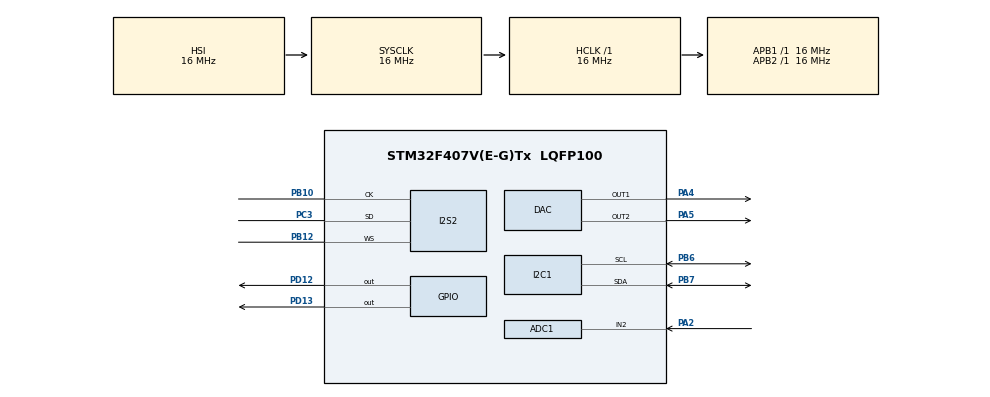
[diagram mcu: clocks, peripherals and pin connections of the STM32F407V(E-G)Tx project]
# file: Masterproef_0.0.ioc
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ADC1.Channel-0\#ChannelRegularConversion=ADC_CHANNEL_2
ADC1.ExternalTrigConv=ADC_EXTERNALTRIGCONV_T3_TRGO
ADC1.NbrOfConversionFlag=1
ADC1.Rank-0\#ChannelRegularConversion=1
ADC1.Resolution=ADC_RESOLUTION_8B
ADC1.SamplingTime-0\#ChannelRegularConversion=ADC_SAMPLETIME_28CYCLES
ADC1.master=1
I2S2.ErrorAudioFreq=0.0 %
I2S2.FullDuplexMode=I2S_FULLDUPLEXMODE_DISABLE
I2S2.Instance=SPI$Index
I2S2.RealAudioFreq=8.0 KHz
I2S2.VirtualMode=I2S_MODE_MASTER
Mcu.Family=STM32F4
Mcu.Name=STM32F407V(E-G)Tx
Mcu.Package=LQFP100
NVIC.ADC_IRQn=true\:0\:0\:false\:false\:true\:true\:true
NVIC.PriorityGroup=NVIC_PRIORITYGROUP_4
NVIC.TIM2_IRQn=true\:0\:0\:false\:false\:true\:true\:true
PA2.Signal=ADCx_IN2
PA4.Signal=COMP_DAC1_group
PA5.Signal=COMP_DAC2_group
PB10.Mode=Half_Duplex_Master
PB10.Signal=I2S2_CK
PB12.Mode=Half_Duplex_Master
PB12.Signal=I2S2_WS
PB6.Mode=I2C
PB6.Signal=I2C1_SCL
PB7.Mode=I2C
PB7.Signal=I2C1_SDA
PC3.Mode=Half_Duplex_Master
PC3.Signal=I2S2_SD
PD12.Signal=GPIO_Output
PD13.Signal=GPIO_Output
PH0-OSC_IN.Mode=HSE-External-Oscillator
PH0-OSC_IN.Signal=RCC_OSC_IN
PH1-OSC_OUT.Mode=HSE-External-Oscillator
PH1-OSC_OUT.Signal=RCC_OSC_OUT
ProjectManager.HeapSize=0x200
ProjectManager.StackSize=0x400
ProjectManager.TargetToolchain=STM32CubeIDE
RCC.48MHZClocksFreq_Value=96000000
RCC.AHBFreq_Value=16000000
RCC.APB1Freq_Value=16000000
RCC.APB1TimFreq_Value=16000000
RCC.APB2Freq_Value=16000000
RCC.APB2TimFreq_Value=16000000
RCC.CortexFreq_Value=16000000
RCC.HCLKFreq_Value=16000000
RCC.HSE_VALUE=8000000
RCC.HSI_VALUE=16000000
RCC.LSE_VALUE=32768
RCC.PLLI2SN=96
RCC.PLLM=8
RCC.SYSCLKFreq_VALUE=16000000
RCC.VCOOutputFreq_Value=384000000
SH.ADCx_IN2.0=ADC1_IN2,IN2
SH.COMP_DAC1_group.0=DAC_OUT1,DAC_OUT1
SH.COMP_DAC2_group.0=DAC_OUT2,DAC_OUT2
TIM2.Period=1000
TIM2.Prescaler=16000
TIM2.TIM_MasterOutputTrigger=TIM_TRGO_UPDATE
TIM3.Period=2
TIM3.Prescaler=1000
TIM3.TIM_MasterOutputTrigger=TIM_TRGO_UPDATE
VP_TIM2_VS_ClockSourceINT.Mode=Internal
VP_TIM3_VS_ClockSourceINT.Mode=Internal
board=custom

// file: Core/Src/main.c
/* USER CODE BEGIN Header */
/**
  ******************************************************************************
  * @file           : main.c
  * @brief          : Main program body
  ******************************************************************************
  * @attention
  *
  * <h2><center>&copy; Copyright (c) 2019 STMicroelectronics.
  * All rights reserved.</center></h2>
  *
  * This software component is licensed by ST under BSD 3-Clause license,
  * the "License"; You may not use this file except in compliance with the
  * License. You may obtain a copy of the License at:
  *                        opensource.org/licenses/BSD-3-Clause
  *
  ******************************************************************************
  */
/* USER CODE END Header */

#include "main.h"

/* USER CODE BEGIN Includes */
#include "ssd1306.h"
#include "fonts.h"
#include "test.h"
/* USER CODE END Includes */

ADC_HandleTypeDef hadc1;

DAC_HandleTypeDef hdac;

I2C_HandleTypeDef hi2c1;

I2S_HandleTypeDef hi2s2;

TIM_HandleTypeDef htim2;
TIM_HandleTypeDef htim3;

void SystemClock_Config(void);
static void MX_GPIO_Init(void);
static void MX_I2C1_Init(void);
static void MX_I2S2_Init(void);
static void MX_ADC1_Init(void);
static void MX_TIM2_Init(void);
static void MX_TIM3_Init(void);
static void MX_DAC_Init(void);

/* USER CODE BEGIN 0 */
uint8_t adcVal;

uint8_t samplingRate = 8;
/* USER CODE END 0 */

int main(void)
{
  /* USER CODE BEGIN 1 */
  uint16_t dacVal12;
  uint8_t dacVal8;
  /* USER CODE END 1 */

  /* MCU Configuration--------------------------------------------------------*/

  /* Reset of all peripherals, Initializes the Flash interface and the Systick. */
  HAL_Init();

  /* Configure the system clock */
  SystemClock_Config();

  /* Initialize all configured peripherals */
  MX_GPIO_Init();
  MX_I2C1_Init();
  MX_I2S2_Init();
  MX_ADC1_Init();
  MX_TIM2_Init();
  MX_TIM3_Init();
  MX_DAC_Init();
  /* USER CODE BEGIN 2 */
  SSD1306_Init();
  SSD1306_DrawCircle(0, 0, 10, SSD1306_COLOR_WHITE);
  SSD1306_GotoXY(5,50);
  SSD1306_Puts("test DAC 8 bit", &Font_7x10, SSD1306_COLOR_WHITE);
  SSD1306_UpdateScreen();

  HAL_TIM_Base_Start_IT(&htim2);

  HAL_TIM_Base_Start(&htim3);
  HAL_ADC_Start_IT(&hadc1);

  dacVal12= 0;
  dacVal8 = 128;
  HAL_DAC_Start(&hdac, DAC_CHANNEL_1);
  HAL_DAC_SetValue(&hdac, DAC_CHANNEL_1, DAC_ALIGN_8B_R, dacVal8);
  HAL_DAC_Start(&hdac, DAC_CHANNEL_2);
  HAL_DAC_SetValue(&hdac, DAC_CHANNEL_2, DAC_ALIGN_12B_R, dacVal12);
  /* USER CODE END 2 */

  /* Infinite loop */
  while (1)
  {

  }
}

void SystemClock_Config(void)
{
  RCC_OscInitTypeDef RCC_OscInitStruct = {0};
  RCC_ClkInitTypeDef RCC_ClkInitStruct = {0};
  RCC_PeriphCLKInitTypeDef PeriphClkInitStruct = {0};

  /** Macro to configure the PLL multiplication factor
  */
  __HAL_RCC_PLL_PLLM_CONFIG(8);
  /** Macro to configure the PLL clock source
  */
  __HAL_RCC_PLL_PLLSOURCE_CONFIG(RCC_PLLSOURCE_HSI);
  /** Configure the main internal regulator output voltage
  */
  __HAL_RCC_PWR_CLK_ENABLE();
  __HAL_PWR_VOLTAGESCALING_CONFIG(PWR_REGULATOR_VOLTAGE_SCALE1);
  /** Initializes the CPU, AHB and APB busses clocks
  */
  RCC_OscInitStruct.OscillatorType = RCC_OSCILLATORTYPE_HSI;
  RCC_OscInitStruct.HSIState = RCC_HSI_ON;
  RCC_OscInitStruct.HSICalibrationValue = RCC_HSICALIBRATION_DEFAULT;
  RCC_OscInitStruct.PLL.PLLState = RCC_PLL_NONE;
  RCC_OscInitStruct.PLL.PLLSource = RCC_PLLSOURCE_HSI;
  if (HAL_RCC_OscConfig(&RCC_OscInitStruct) != HAL_OK)
  {
    Error_Handler();
  }
  /** Initializes the CPU, AHB and APB busses clocks
  */
  RCC_ClkInitStruct.ClockType = RCC_CLOCKTYPE_HCLK|RCC_CLOCKTYPE_SYSCLK
                              |RCC_CLOCKTYPE_PCLK1|RCC_CLOCKTYPE_PCLK2;
  RCC_ClkInitStruct.SYSCLKSource = RCC_SYSCLKSOURCE_HSI;
  RCC_ClkInitStruct.AHBCLKDivider = RCC_SYSCLK_DIV1;
  RCC_ClkInitStruct.APB1CLKDivider = RCC_HCLK_DIV1;
  RCC_ClkInitStruct.APB2CLKDivider = RCC_HCLK_DIV1;

  if (HAL_RCC_ClockConfig(&RCC_ClkInitStruct, FLASH_LATENCY_0) != HAL_OK)
  {
    Error_Handler();
  }
  PeriphClkInitStruct.PeriphClockSelection = RCC_PERIPHCLK_I2S;
  PeriphClkInitStruct.PLLI2S.PLLI2SN = 96;
  PeriphClkInitStruct.PLLI2S.PLLI2SR = 2;
  if (HAL_RCCEx_PeriphCLKConfig(&PeriphClkInitStruct) != HAL_OK)
  {
    Error_Handler();
  }
}

static void MX_ADC1_Init(void)
{

  ADC_ChannelConfTypeDef sConfig = {0};

  /** Configure the global features of the ADC (Clock, Resolution, Data Alignment and number of conversion)
  */
  hadc1.Instance = ADC1;
  hadc1.Init.ClockPrescaler = ADC_CLOCK_SYNC_PCLK_DIV2;
  hadc1.Init.Resolution = ADC_RESOLUTION_8B;
  hadc1.Init.ScanConvMode = DISABLE;
  hadc1.Init.ContinuousConvMode = DISABLE;
  hadc1.Init.DiscontinuousConvMode = DISABLE;
  hadc1.Init.ExternalTrigConvEdge = ADC_EXTERNALTRIGCONVEDGE_RISING;
  hadc1.Init.ExternalTrigConv = ADC_EXTERNALTRIGCONV_T3_TRGO;
  hadc1.Init.DataAlign = ADC_DATAALIGN_RIGHT;
  hadc1.Init.NbrOfConversion = 1;
  hadc1.Init.DMAContinuousRequests = DISABLE;
  hadc1.Init.EOCSelection = ADC_EOC_SINGLE_CONV;
  if (HAL_ADC_Init(&hadc1) != HAL_OK)
  {
    Error_Handler();
  }
  /** Configure for the selected ADC regular channel its corresponding rank in the sequencer and its sample time.
  */
  sConfig.Channel = ADC_CHANNEL_2;
  sConfig.Rank = 1;
  sConfig.SamplingTime = ADC_SAMPLETIME_28CYCLES;
  if (HAL_ADC_ConfigChannel(&hadc1, &sConfig) != HAL_OK)
  {
    Error_Handler();
  }

}

static void MX_DAC_Init(void)
{

  DAC_ChannelConfTypeDef sConfig = {0};

  /** DAC Initialization
  */
  hdac.Instance = DAC;
  if (HAL_DAC_Init(&hdac) != HAL_OK)
  {
    Error_Handler();
  }
  /** DAC channel OUT1 config
  */
  sConfig.DAC_Trigger = DAC_TRIGGER_NONE;
  sConfig.DAC_OutputBuffer = DAC_OUTPUTBUFFER_ENABLE;
  if (HAL_DAC_ConfigChannel(&hdac, &sConfig, DAC_CHANNEL_1) != HAL_OK)
  {
    Error_Handler();
  }
  /** DAC channel OUT2 config
  */
  if (HAL_DAC_ConfigChannel(&hdac, &sConfig, DAC_CHANNEL_2) != HAL_OK)
  {
    Error_Handler();
  }

}

static void MX_I2C1_Init(void)
{

  hi2c1.Instance = I2C1;
  hi2c1.Init.ClockSpeed = 100000;
  hi2c1.Init.DutyCycle = I2C_DUTYCYCLE_2;
  hi2c1.Init.OwnAddress1 = 0;
  hi2c1.Init.AddressingMode = I2C_ADDRESSINGMODE_7BIT;
  hi2c1.Init.DualAddressMode = I2C_DUALADDRESS_DISABLE;
  hi2c1.Init.OwnAddress2 = 0;
  hi2c1.Init.GeneralCallMode = I2C_GENERALCALL_DISABLE;
  hi2c1.Init.NoStretchMode = I2C_NOSTRETCH_DISABLE;
  if (HAL_I2C_Init(&hi2c1) != HAL_OK)
  {
    Error_Handler();
  }

}

static void MX_I2S2_Init(void)
{

  hi2s2.Instance = SPI2;
  hi2s2.Init.Mode = I2S_MODE_MASTER_TX;
  hi2s2.Init.Standard = I2S_STANDARD_PHILIPS;
  hi2s2.Init.DataFormat = I2S_DATAFORMAT_16B;
  hi2s2.Init.MCLKOutput = I2S_MCLKOUTPUT_DISABLE;
  hi2s2.Init.AudioFreq = I2S_AUDIOFREQ_8K;
  hi2s2.Init.CPOL = I2S_CPOL_LOW;
  hi2s2.Init.ClockSource = I2S_CLOCK_PLL;
  hi2s2.Init.FullDuplexMode = I2S_FULLDUPLEXMODE_DISABLE;
  if (HAL_I2S_Init(&hi2s2) != HAL_OK)
  {
    Error_Handler();
  }

}

static void MX_TIM2_Init(void)
{

  TIM_ClockConfigTypeDef sClockSourceConfig = {0};
  TIM_MasterConfigTypeDef sMasterConfig = {0};

  htim2.Instance = TIM2;
  htim2.Init.Prescaler = 16000;
  htim2.Init.CounterMode = TIM_COUNTERMODE_UP;
  htim2.Init.Period = 1000;
  htim2.Init.ClockDivision = TIM_CLOCKDIVISION_DIV1;
  htim2.Init.AutoReloadPreload = TIM_AUTORELOAD_PRELOAD_DISABLE;
  if (HAL_TIM_Base_Init(&htim2) != HAL_OK)
  {
    Error_Handler();
  }
  sClockSourceConfig.ClockSource = TIM_CLOCKSOURCE_INTERNAL;
  if (HAL_TIM_ConfigClockSource(&htim2, &sClockSourceConfig) != HAL_OK)
  {
    Error_Handler();
  }
  sMasterConfig.MasterOutputTrigger = TIM_TRGO_UPDATE;
  sMasterConfig.MasterSlaveMode = TIM_MASTERSLAVEMODE_DISABLE;
  if (HAL_TIMEx_MasterConfigSynchronization(&htim2, &sMasterConfig) != HAL_OK)
  {
    Error_Handler();
  }

}

static void MX_TIM3_Init(void)
{

  TIM_ClockConfigTypeDef sClockSourceConfig = {0};
  TIM_MasterConfigTypeDef sMasterConfig = {0};

  htim3.Instance = TIM3;
  htim3.Init.Prescaler = 1000;
  htim3.Init.CounterMode = TIM_COUNTERMODE_UP;
  htim3.Init.Period = 2;
  htim3.Init.ClockDivision = TIM_CLOCKDIVISION_DIV1;
  htim3.Init.AutoReloadPreload = TIM_AUTORELOAD_PRELOAD_DISABLE;
  if (HAL_TIM_Base_Init(&htim3) != HAL_OK)
  {
    Error_Handler();
  }
  sClockSourceConfig.ClockSource = TIM_CLOCKSOURCE_INTERNAL;
  if (HAL_TIM_ConfigClockSource(&htim3, &sClockSourceConfig) != HAL_OK)
  {
    Error_Handler();
  }
  sMasterConfig.MasterOutputTrigger = TIM_TRGO_UPDATE;
  sMasterConfig.MasterSlaveMode = TIM_MASTERSLAVEMODE_DISABLE;
  if (HAL_TIMEx_MasterConfigSynchronization(&htim3, &sMasterConfig) != HAL_OK)
  {
    Error_Handler();
  }

}

static void MX_GPIO_Init(void)
{
  GPIO_InitTypeDef GPIO_InitStruct = {0};

  /* GPIO Ports Clock Enable */
  __HAL_RCC_GPIOH_CLK_ENABLE();
  __HAL_RCC_GPIOC_CLK_ENABLE();
  __HAL_RCC_GPIOA_CLK_ENABLE();
  __HAL_RCC_GPIOB_CLK_ENABLE();
  __HAL_RCC_GPIOD_CLK_ENABLE();

  /*Configure GPIO pin Output Level */
  HAL_GPIO_WritePin(GPIOD, GPIO_PIN_12|GPIO_PIN_13, GPIO_PIN_RESET);

  /*Configure GPIO pins : PD12 PD13 */
  GPIO_InitStruct.Pin = GPIO_PIN_12|GPIO_PIN_13;
  GPIO_InitStruct.Mode = GPIO_MODE_OUTPUT_PP;
  GPIO_InitStruct.Pull = GPIO_NOPULL;
  GPIO_InitStruct.Speed = GPIO_SPEED_FREQ_LOW;
  HAL_GPIO_Init(GPIOD, &GPIO_InitStruct);

}

/* USER CODE BEGIN 4 */
void HAL_TIM_PeriodElapsedCallback(TIM_HandleTypeDef *htim)
{
  /* Prevent unused argument(s) compilation warning */
  UNUSED(htim);

  HAL_GPIO_TogglePin(GPIOD, GPIO_PIN_12);
}

void HAL_ADC_ConvCpltCallback(ADC_HandleTypeDef* hadc)
{
  /* Prevent unused argument(s) compilation warning */
  UNUSED(hadc);

  adcVal = HAL_ADC_GetValue(&hadc1);
  HAL_GPIO_TogglePin(GPIOD, GPIO_PIN_13);
}
/* USER CODE END 4 */

void Error_Handler(void)
{
}

/************************ (C) COPYRIGHT STMicroelectronics *****END OF FILE****/
